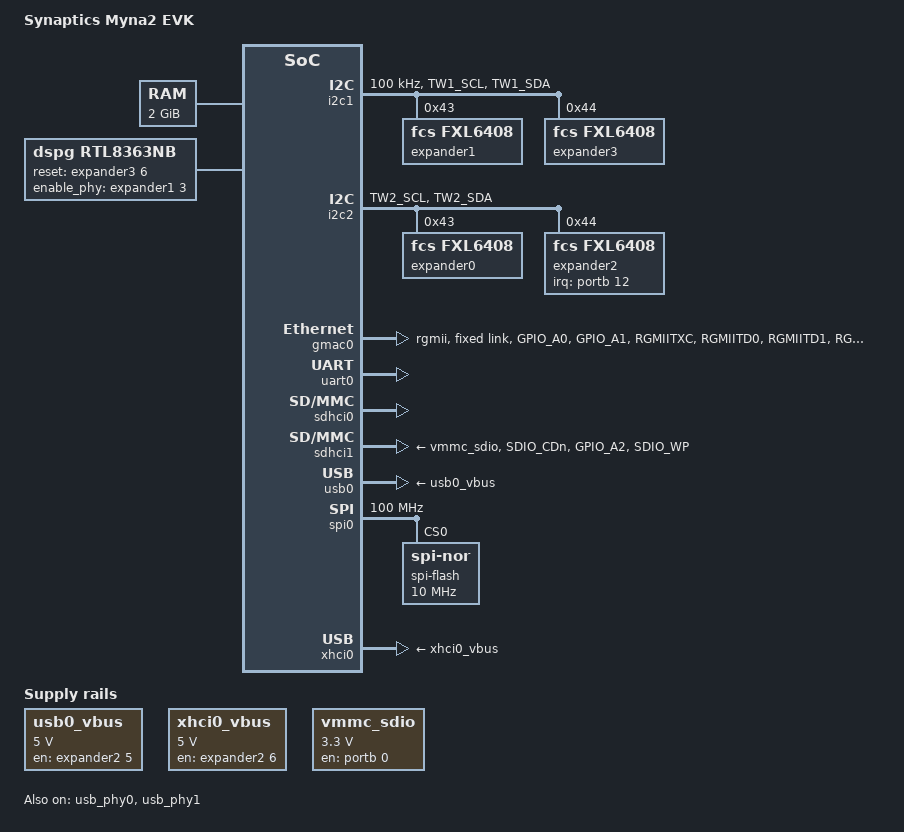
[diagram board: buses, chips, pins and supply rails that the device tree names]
/* SPDX-License-Identifier: GPL-2.0+ */
/*
 * Copyright (C) 2020 Synaptics Incorporated
 *
 * Author: Cheng Lu <Cheng.Lu@synaptics.com>
 *
 */

/dts-v1/;

#include "myna2.dtsi"
#include "include/dt-bindings/gpio/gpio.h"

/ {
	model = "Synaptics Myna2 EVK";
	compatible = "Synaptics,myna2", "Synaptics,asserial";

	memory {
		device_type = "memory";
		reg = <0 0 0 0x80000000>;
	};

	chosen {
		stdout-path = &uart0;
        };

	regulators {
		compatible = "simple-bus";
		#address-cells = <1>;
		#size-cells = <0>;

		usb0_vbus: regulator@0 {
			compatible = "regulator-fixed";
			regulator-name = "usb0_vbus";
			regulator-min-microvolt = <5000000>;
			regulator-max-microvolt = <5000000>;
			gpio = <&expander2 5 GPIO_ACTIVE_HIGH>;
			enable-active-high;
		};

		xhci0_vbus: xhci0_vbus {
			compatible = "regulator-fixed";
			regulator-name = "xhci0_vbus";
			regulator-min-microvolt = <5000000>;
			regulator-max-microvolt = <5000000>;
			gpio = <&expander2 6 GPIO_ACTIVE_HIGH>;
			enable-active-high;
		};

		vmmc_sdio: vmmc_sdio {
			compatible = "regulator-fixed";
			regulator-min-microvolt = <3300000>;
			regulator-max-microvolt = <3300000>;
			regulator-name = "vmmc_sdio";
			enable-active-high;
			regulator-boot-on;
			gpio = <&portb 0 GPIO_ACTIVE_HIGH>;
		};

	};

	switch {
		compatible = "simple-bus";
		#address-cells = <1>;
		#size-cells = <0>;

		rtl8363nb {
			compatible = "dspg,rtl8363nb";
			reset_gpio = <&expander3 6 GPIO_ACTIVE_HIGH>;
			enable_phy_gpio = <&expander1 3 GPIO_ACTIVE_HIGH>;
			reg = <29>;
		};
	};
};

&pinctrl {
	emmc_pmux: emmc-pmux {
		groups = "EMMC_RSTn", "EMMC_DATA0", "EMMC_DATA1", "EMMC_DATA2", "EMMC_DATA3", "EMMC_DATA4", "EMMC_DATA5", "EMMC_DATA6", "EMMC_DATA7", "EMMC_CLK", "EMMC_CMD";
        function = "emmc";
        };

	sdio_pmux: sdio-pmux {
		groups = "SDIO_CDn";
		function = "sdio";
	};

	sdio_gpio_pmux: sdio_gpio-pmux {
		/*groups = "SPI2_SS1n";*/
		groups = "GPIO_A2", "SDIO_WP";
		function = "gpio";
	};

	rgmii_pmux: rgmii-pmux {
		groups = "GPIO_A0", "GPIO_A1", "RGMIITXC", "RGMIITD0", "RGMIITD1", "RGMIITD2", "RGMIITD3", "RGMIITXCTL", "RGMIIRXC", "RGMIIRD0", "RGMIIRD1", "RGMIIRD2", "RGMIIRD3", "RGMIIRXCTL", "RGMII_CLK_OUT";
		function = "rgmii";
	};

	i2c1_pmux: i2c1-pmux {
		groups = "TW1_SCL", "TW1_SDA";
		function = "tw1";
		drive-strength = <7>;
	};

	i2c2_pmux: i2c2-pmux {
		groups = "TW2_SCL", "TW2_SDA";
		function = "tw2";
		drive-strength = <7>;
	};

	expander2_pmux: expander2-pmux {
		groups = "PWM2";
		function = "gpio";
	};
};

&i2c1 {
	status = "okay";
	pinctrl-0 = <&i2c1_pmux>;
	pinctrl-names = "default";
	clock-frequency = <100000>;

	expander1: gpio@43 {
		compatible = "fcs,fxl6408";
		reg = <0x43>;
		gpio-controller;
		#gpio-cells = <2>;
	};

	expander3: gpio@44 {
		compatible = "fcs,fxl6408";
		reg = <0x44>;
		gpio-controller;
		#gpio-cells = <2>;
	};
};

&i2c2 {
	status = "okay";
	pinctrl-names = "default";
	pinctrl-0 = <&i2c2_pmux>;

	expander0: gpio@43 {
		compatible = "fcs,fxl6408";
		reg = <0x43>;
		gpio-controller;
		#gpio-cells = <2>;
	};

	expander2: gpio@44 {
		compatible = "fcs,fxl6408";
		pinctrl-0 = <&expander2_pmux>;
		pinctrl-names = "default";
		reg = <0x44>;
		gpio-controller;
		#gpio-cells = <2>;
		interrupt-parent = <&portb>;
		interrupts = <12 IRQ_TYPE_NONE>;
		interrupt-controller;
		#interrupt-cells = <2>;
		#address-cells = <0>;
	};
};

&phy0 {
	reg = <0>;
};

&gmac0 {
	status = "okay";
	max-speed = <1000>;
	phy-mode = "rgmii";
	pinctrl-names = "default";
	pinctrl-0 = <&rgmii_pmux>;
	fixed-link {
		speed = <1000>;
		full-duplex;
	};
};

&CPU_SLEEP_0 {
	status = "disabled";
};

&uart0 {
	status = "okay";
};

&sdhci0 {
        status = "okay";
};

&sdhci1 {
	status = "okay";
	no-1-8-v;
	vmmc-supply = <&vmmc_sdio>;
	pinctrl-0 = <&sdio_pmux>, <&sdio_gpio_pmux>;
	pinctrl-names = "default";
};

&usb_phy0 {
	status = "okay";
};

&usb0 {
	vbus-supply = <&usb0_vbus>;
	status = "okay";
};

&spi0 {
	status = "okay";
	max-write-size = <128>;
	clock-frequency = <100000000>;
	spi-flash@0 {
		#address-cells = <1>;
		#size-cells = <1>;
		compatible = "jedec,spi-nor";
		reg = <0>;
		memory-map = <0x0 0xf0000000 0x0 0x4000000>;
		spi-max-frequency = <10000000>;
        };
};

&xhci0 {
	vbus-supply = <&xhci0_vbus>;
	status = "okay";
};

&usb_phy1  {
	status = "okay";
};
